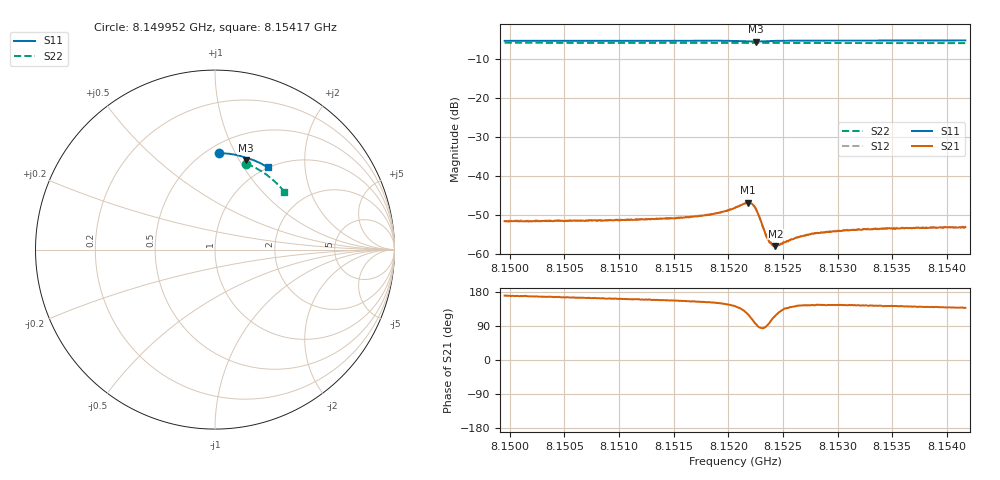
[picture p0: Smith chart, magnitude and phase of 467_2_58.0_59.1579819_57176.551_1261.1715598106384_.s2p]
#  HZ  S  RI  R  50.00
! Rohde & Schwarz Vector Network Analyzer
! Rohde-Schwarz,ZNB20-2Port,1311601062101988,3.16
! Created: UTC 3/21/2024, 1:11:12 AM
! freq[Hz]  re:S11  im:S11  re:S21  im:S21  re:S12  im:S12  re:S22  im:S22
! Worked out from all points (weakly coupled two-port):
!   401 points, 8.149952 GHz to 8.15417 GHz, reference 50 ohm
!   highest |S21| = -46.85 dB at 8.152177 GHz (marker M1); lowest = -57.9 dB at 8.15243 GHz (marker M2)
!   lowest |S11| = -5.6 dB at 8.152251 GHz (marker M3), VSWR 3.22, Z = 38.6 + j53.2 ohm
!   |S11| at or under -10 dB: nowhere
!   |S22| runs from -6.0 to -5.9 dB; largest |S21 - S12| = 0.00012
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8.1499519e9  0.0203 0.5378  -0.0026 0.000463  -0.00262 0.000542  0.1738 0.479
8.1506585e9  0.0697 0.5348  -0.00257 0.000731  -0.00259 0.000787  0.2156 0.4605
8.151365e9  0.1188 0.5271  -0.00263 0.00105  -0.00262 0.00111  0.255 0.4387
8.1515232e9  0.1297 0.5249  -0.00266 0.00115  -0.00267 0.00121  0.2636 0.4335
8.1518185e9  0.1508 0.5192  -0.00283 0.00146  -0.00284 0.00153  0.2794 0.423
8.151924e9  0.1587 0.5163  -0.00293 0.0017  -0.00295 0.00176  0.2847 0.419
8.152061e9  0.1692 0.5109  -0.00309 0.00241  -0.00309 0.00248  0.2918 0.4137
8.1521771e9  0.175 0.501  -0.00236 0.00388  -0.00233 0.00395  0.2975 0.409
8.1522192e9  0.1727 0.4977  -0.00126 0.00419  -0.00121 0.00424  0.2995 0.4074
8.1522509e9  0.1701 0.4979  -0.00034 0.0038  -0.000243 0.00385  0.3007 0.4062
8.1522825e9  0.1691 0.5005  0.000198 0.00302  0.000225 0.00303  0.3023 0.4052
8.1523352e9  0.1717 0.5049  0.000119 0.00188  0.000132 0.00189  0.305 0.4034
8.1523563e9  0.1736 0.5059  -4.46e-05 0.00162  -2.82e-05 0.00162  0.3062 0.4026
8.152388e9  0.1765 0.5068  -0.000317 0.00138  -0.00026 0.00134  0.3077 0.4014
8.1524091e9  0.1787 0.507  -0.000461 0.00121  -0.00042 0.0012  0.3088 0.4007
8.1524302e9  0.1806 0.5072  -0.000571 0.00113  -0.000595 0.00115  0.3099 0.3997
8.1524618e9  0.1834 0.5071  -0.000766 0.00106  -0.000764 0.00108  0.3114 0.3986
8.1526094e9  0.1953 0.5046  -0.00125 0.001  -0.00126 0.00101  0.3188 0.3925
8.1527676e9  0.2068 0.5008  -0.00152 0.00105  -0.00148 0.00105  0.3264 0.3859
8.1530734e9  0.2273 0.493  -0.00165 0.00116  -0.00166 0.0012  0.3404 0.3728
8.1534742e9  0.2529 0.4811  -0.00171 0.00132  -0.00167 0.00134  0.3583 0.3549
8.1541702e9  0.295 0.4576  -0.00164 0.00149  -0.00165 0.0015  0.3868 0.3216
